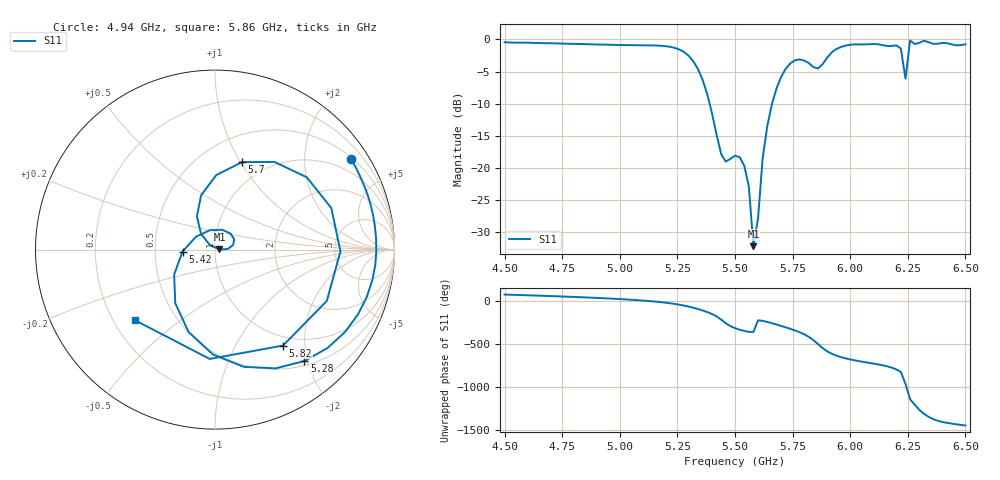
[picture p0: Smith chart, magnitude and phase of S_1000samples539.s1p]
! TOUCHSTONE file generated by CST MICROWAVE STUDIO
! Date and time: Fri Oct 28 12:41:03 2022
! Project name: L.cst
! Parameters = {Di=1.27; Epsilon_r=1.56; InnerDiameter=1.27; Length=2; Lf=10; Lg=60; OuterConductorThickness=0.2921; OuterDiameter=3.6; Wf=3; Wp=41.2; de=1.5; df=6.8; g=0.8; gx=4.8553; gy=1.34764; h=2.34; hf=1.524; px=8.71161; py=14.4281; w=9.7; wx=3.85631; wy=13.0804}
! Header version: 2018
! Port assignment regex: !\s*Touchstone port\s*([0-9]+)\s*=\s*(CST MWS port|CST DS port)\s*([0-9]+|Zmin|Zmax)\s*\(\"(.*)\"\)(\s*mode\s*([0-9]+))?.*
! Touchstone port assignment:
! Touchstone port 1 = CST MWS port 1 ("")
# GHz S DB R 50
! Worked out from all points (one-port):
!   101 points, 4.5 GHz to 6.5 GHz, reference 50 ohm
!   lowest |S11| = -32.2 dB at 5.58 GHz (marker M1), VSWR 1.05, Z = 52.5 + j0.0855 ohm
!   |S11| at or under -10 dB: 5.39 GHz to 5.661 GHz (271 MHz wide, 4.9 % of centre)
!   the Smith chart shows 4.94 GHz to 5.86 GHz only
!   S11 on the Smith chart (normalised r, x): 4.94 GHz: 0.54, +3.22; 5.28 GHz: 0.57, -1.95; 5.42 GHz: 0.69, -0.02; 5.7 GHz: 0.77, +1.02; 5.82 GHz: 0.85, -1.59; 5.86 GHz: 0.29, -0.35
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4.5  -0.43 78.1
4.76  -0.66 54.4
4.94  -0.81 33.7
5  -0.87 25.3
5.26  -1.59 -41.1
5.28  -1.98 -51.3
5.42  -14.84 -176.6
5.5  -18.10 46.0
5.56  -22.90 2.8
5.58  -32.18 1.9
5.64  -13.51 118.5
5.7  -5.85 72.8
5.76  -3.25 19.6
5.82  -3.67 -54.6
5.86  -4.52 -138.5
5.88  -3.87 175.0
5.92  -2.00 107.8
6  -0.82 41.5
6.12  -0.74 -15.9
6.2  -0.92 -73.6
6.22  -1.42 -104.8
6.24  -6.12 116.5
6.26  -0.16 -63.1
6.28  -0.71 -127.3
6.3  -0.54 174.0
6.34  -0.41 92.6
6.4  -0.54 32.4
6.5  -0.76 -8.1
